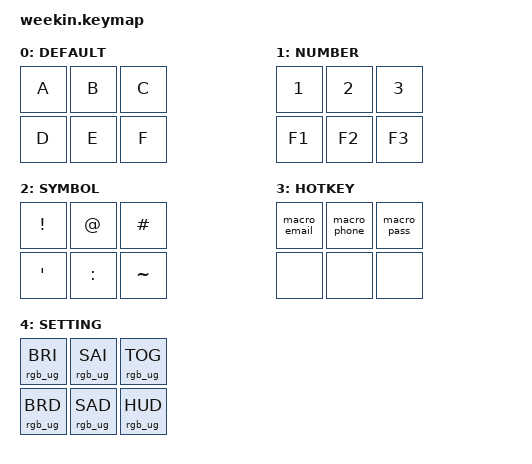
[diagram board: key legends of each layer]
/*
 * Copyright (c) 2022 The ZMK Contributors
 *
 * SPDX-License-Identifier: MIT
 */

#include <behaviors.dtsi>
#include <dt-bindings/zmk/keys.h>
#include <dt-bindings/zmk/bt.h>
#include <dt-bindings/zmk/rgb.h>

#define DEFAULT 0  //默认层
#define NUMBER  1  //第二层
#define SYMBOL  2  //第三层
#define HOTKEY  3  //第四层
#define SETTING 4  //第五层

/ {       //一下是宏功能
        behaviors {
		macro_phone: macro_1 {//电话号码宏
			compatible = "zmk,behavior-macro";
			label = "MACRO_PHONE";
			#binding-cells = <0>;
			bindings = <&kp N1>, <&kp N7>, <&kp N6>, <&kp N6>, <&kp N5>, 
                                   <&kp N3>, <&kp N6>, <&kp N3>, <&kp N9>, <&kp N9>, <&kp N5>;
		};
                macro_email: macro_2 {//邮箱地址宏
			compatible = "zmk,behavior-macro";
			label = "MACRO_EMAIL";
			#binding-cells = <0>;
			bindings = <&kp C>, <&kp H>, <&kp E>, <&kp N>, <&kp Z>, <&kp H>, <&kp I>, 
                                   <&kp H>, <&kp A>, <&kp O>, <&kp N1>, <&kp N1>, <&kp N0>, <&kp N9>,
                                   <&kp AT>, <&kp Q>, <&kp Q>, <&kp DOT>, <&kp C>, <&kp O>, <&kp M>;
		};
                macro_pass: macro_3 {//地址宏
			compatible = "zmk,behavior-macro";
			label = "MACRO_PASS";
			#binding-cells = <0>;
			bindings = <&kp LS(C)>, <&kp H>, <&kp E>, <&kp N>, <&kp Z>, <&kp H>, <&kp I>, 
                                   <&kp H>, <&kp A>, <&kp O>, <&kp N8>, <&kp DOT>, <&kp N1>, <&kp N1>;
		};
	};
//&kp LS(C)   LS=left shift   +c   等于大写的C
        keymap {
                compatible = "zmk,keymap";

        default_layer {
//&kp TAB 相当于QMK里的KC_TAB
//&mt RSHIFT RET ：单击这个按键是后面的RET（回车），长按是前面的RSHIFT键
//&lt NUMBER SPACE :单击是SPACE键，长按是临时切换到NUMBER层，松开回到默认层
//&none : 这个按键为空
//&trans : 保持和上一层同个按键一样的键值
//&mo SETTING :同QMK的MO，临时切层到SETTING层
//&reset  :软复位
// -------------------------------------------------------------------------------------
// |  Q  |  W  |  E  |
// |  A  |  S  |  D  |
        label = "DEFAULT";  //屏幕显示DEFAULT，下同
        bindings = <
        &kp A &kp B &kp C 
        &kp D &kp E &kp F 
                   >;
                     };

                number_layer {
                        // -----------------------------------------------------------------------------------------
// |  1  |  2  |  3  |
// | F1  | F2  | F3  |

        label = "NUMBER";
        bindings = <
  &kp N1    &kp N2    &kp N3
  &kp F1    &kp F2    &kp F3
                        >;
                };

                symbol_layer {
// ----------------------------------------------------------------------------------
// | ESC |  !  |  @  |  #  |  $  |  %  |   |  ^  |  &  |  *  |  (  |  )  | DEL |
// |     |     |     |  "  |  :  |  ~  |   |  -  |  =  |  [  |  ]  |  \  |     |
// |     |     |     |  '  |  ;  |  `  |   |  _  |  +  |  {  |  }  | "|" |     |
//                       |     |     |     |     |     |
        label = "SYMBOL";
        bindings = <
   &kp EXCL  &kp AT  &kp HASH
   &kp SQT  &kp COLON &kp TILDE
                        >;
                };

                hotkey_layer {
// -----------------------------------------------------------------------------------------
// |   |   |   |   |   |   |     |   |   |   |   |   |   |
// |   |   |   |   |   |   |     |   |   |   |   |   |   |
// |   |   |   |   |   |   |     |   |   |   |   |   |   |
//             |     |     |     |     |     |
                        label = "HOTKEY";
                        bindings = <
   &macro_email &macro_phone &macro_pass
   &none   &none  &none
         >;
                };


                setting_layer {
// -----------------------------------------------------------------------------------------
// |    | RGB BRI+ | RGB SAT+ | RGB HUE+ | RGB ANI+ | RGB TOG |   | BT1 | BT2 | BT3 | BT4 | BT5 | BT CLR |
// |    | RGB BRI- | RGB SAT- | RGB HUE- | RGB ANI- |         |   | LEFT| UP  | DOWN|RIGHT|     |        |
// |    |   CAPS   |          |          |  RESET   |         |   | HOME| END |     |     |     |        |
//                                              |     |     |     |     |     |
                        label = "SETTING";
                        bindings = <
   &rgb_ug RGB_BRI &rgb_ug RGB_SAI &rgb_ug RGB_TOG
   &rgb_ug RGB_BRD &rgb_ug RGB_SAD &rgb_ug RGB_HUD 
                        >;
                };
        };
};
